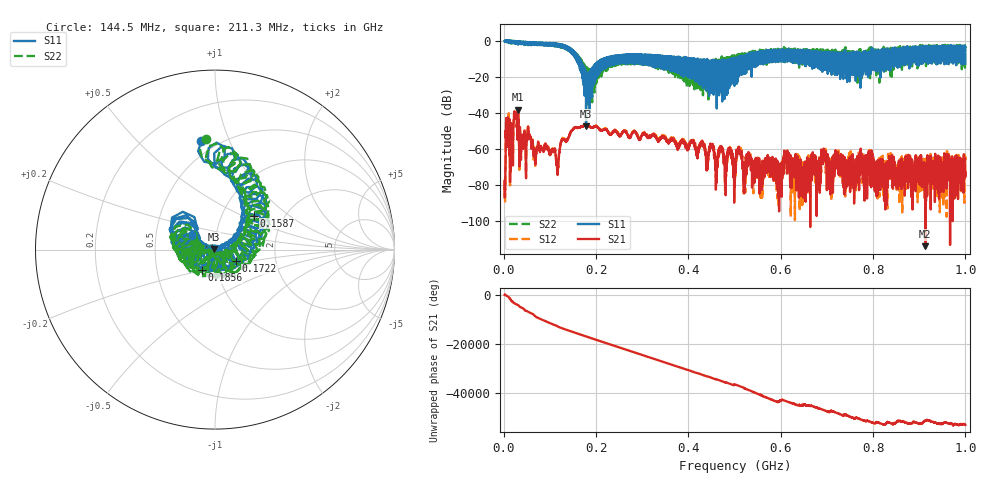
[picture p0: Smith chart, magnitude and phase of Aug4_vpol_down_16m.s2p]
!Keysight Technologies N9923A: A.12.45
!Date: Tuesday, 05 August 2025 20:38:41
!Timezone: (UTC+08:00) Kuala Lumpur, Singapore
!Model: N9923A
!Serial: MY61181427
!GPS Latitude:
!GPS Longitude:
!GPS TimeStamp: 0001-01-01 00:00:00Z
!GPS Seconds Since Last Read: 0
!CHECKSUM:0248007372
!Correction: S11(ON U)S21(ON U)S12(ON U)S22(ON U)
!S2P File: Measurements:S11,S21,S12,S22:
# Hz S DB R 50
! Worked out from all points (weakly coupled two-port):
!   4001 points, 2 MHz to 1 GHz, reference 50 ohm
!   highest |S21| = -38.17 dB at 31.19 MHz (marker M1); lowest = -113.9 dB at 913.2 MHz (marker M2)
!   lowest |S11| = -47.3 dB at 178.4 MHz (marker M3), VSWR 1.01, Z = 49.6 + j0.165 ohm
!   |S11| at or under -10 dB: 163 MHz to 215.5 MHz (52.59 MHz wide, 27.8 % of centre); 412.2 MHz to 420.4 MHz (8.16 MHz wide, 1.96 % of centre); 420.7 MHz to 494 MHz (73.33 MHz wide, 16 % of centre)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
!   |S22| runs from -35.6 to 0.1 dB; largest |S21 - S12| = 0.0032
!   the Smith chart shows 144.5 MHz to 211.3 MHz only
!   S11 on the Smith chart (normalised r, x): 144.5 MHz: 0.41, +0.80; 158.7 MHz: 1.41, +0.58; 172.2 MHz: 1.26, -0.16; 185.6 MHz: 0.84, -0.20; 211.3 MHz: 0.76, +0.12
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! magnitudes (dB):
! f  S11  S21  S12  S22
! 2 MHz  -0.1  -86.8  -81.5  -0.1
! 8.487 MHz  0.1  -51.2  -51.1  0.1
! 31.19 MHz  -2.1  -38.2  -37.9  -2.0
! 115.8 MHz  -1.6  -72.0  -69.8  -1.8
! 144.5 MHz  -4.3  -50.9  -50.8  -4.2
! 158.7 MHz  -10.8  -48.2  -47.9  -10.5
! 168.4 MHz  -17.9  -47.6  -47.5  -15.5
! 172.2 MHz  -17.4  -47.3  -47.2  -16.4
! 178.4 MHz  -47.3  -47.1  -46.7  -22.7
! 185.6 MHz  -17.3  -47.7  -47.5  -17.1
! 211.3 MHz  -16.4  -49.8  -49.7  -16.4
! 334.8 MHz  -8.3  -56.1  -55.2  -10.3
! 501 MHz  -9.7  -73.5  -74.9  -9.1
! 509.7 MHz  -12.2  -61.6  -61.8  -7.4
! 521.2 MHz  -8.7  -71.4  -83.7  -7.0
! 598.6 MHz  -5.7  -82.3  -74.3  -5.2
! 612 MHz  -6.0  -63.4  -62.9  -5.1
! 648.2 MHz  -9.5  -71.8  -81.7  -10.9
! 667.4 MHz  -6.1  -77.4  -63.7  -7.0
! 833.8 MHz  -6.6  -70.1  -67.5  -14.0
! 913.2 MHz  -2.8  -113.9  -69.7  -8.2
! 1 GHz  -12.6  -73.0  -66.8  -3.9
